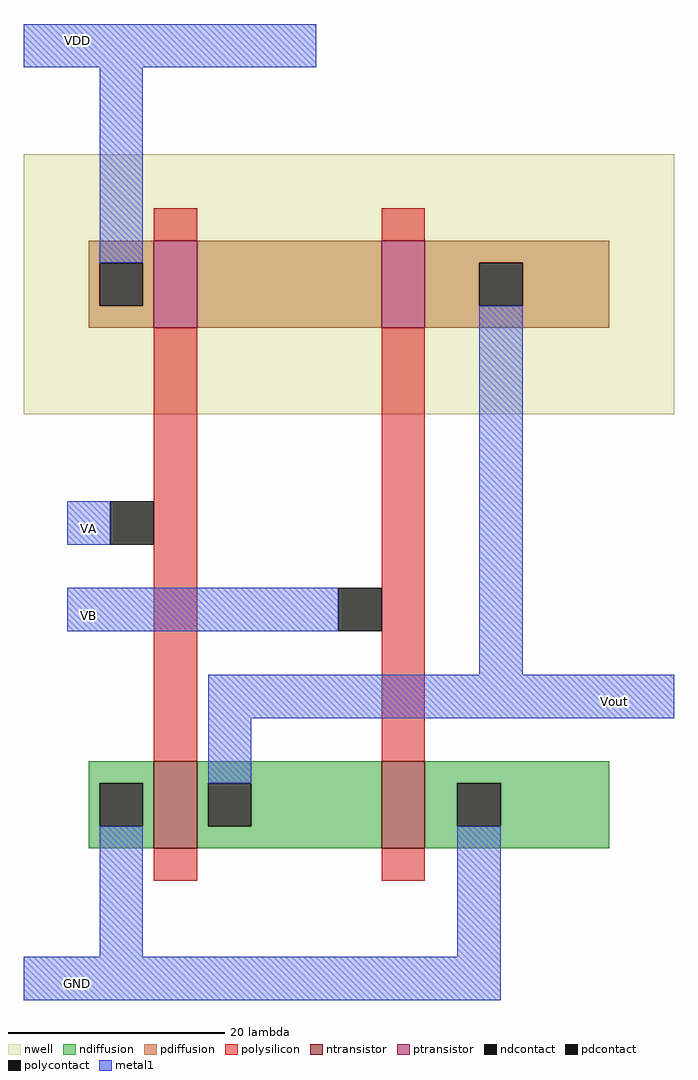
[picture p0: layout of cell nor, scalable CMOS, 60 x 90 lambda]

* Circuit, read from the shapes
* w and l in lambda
.subckt nor GND VA VB VDD Vout
M1 Vout VA GND VSUBS nfet w=8 l=4
M2 GND VB Vout VSUBS nfet w=8 l=4
M3 n1 VA VDD n2 pfet w=8 l=4
M4 Vout VB n1 n2 pfet w=8 l=4
.ends

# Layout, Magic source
magic
tech scmos
<< nwell >>
rect -2 0 58 24
<< ntransistor >>
rect 10 -40 14 -32
rect 31 -40 35 -32
<< ptransistor >>
rect 10 8 14 16
rect 31 8 35 16
<< ndiffusion >>
rect 4 -34 10 -32
rect 4 -38 5 -34
rect 9 -38 10 -34
rect 4 -40 10 -38
rect 14 -34 31 -32
rect 14 -38 15 -34
rect 19 -38 31 -34
rect 14 -40 31 -38
rect 35 -34 52 -32
rect 35 -38 38 -34
rect 42 -38 52 -34
rect 35 -40 52 -38
<< pdiffusion >>
rect 4 14 10 16
rect 4 10 5 14
rect 9 10 10 14
rect 4 8 10 10
rect 14 8 31 16
rect 35 14 52 16
rect 35 10 40 14
rect 44 10 52 14
rect 35 8 52 10
<< ndcontact >>
rect 5 -38 9 -34
rect 15 -38 19 -34
rect 38 -38 42 -34
<< pdcontact >>
rect 5 10 9 14
rect 40 10 44 14
<< polysilicon >>
rect 10 16 14 19
rect 31 16 35 19
rect 10 -32 14 8
rect 31 -32 35 8
rect 10 -43 14 -40
rect 31 -43 35 -40
<< polycontact >>
rect 6 -12 10 -8
rect 27 -20 31 -16
<< metal1 >>
rect -2 32 25 36
rect 5 14 9 32
rect 2 -12 6 -8
rect 2 -20 27 -16
rect 40 -24 44 10
rect 15 -28 58 -24
rect 15 -34 19 -28
rect 5 -50 9 -38
rect 38 -50 42 -38
rect -2 -54 42 -50
<< labels >>
rlabel metal1 2 34 4 35 4 VDD
rlabel metal1 3 -11 5 -10 1 VA
rlabel metal1 2 -53 4 -52 2 GND
rlabel metal1 51 -27 54 -26 1 Vout
rlabel metal1 3 -19 5 -18 1 VB
<< end >>
